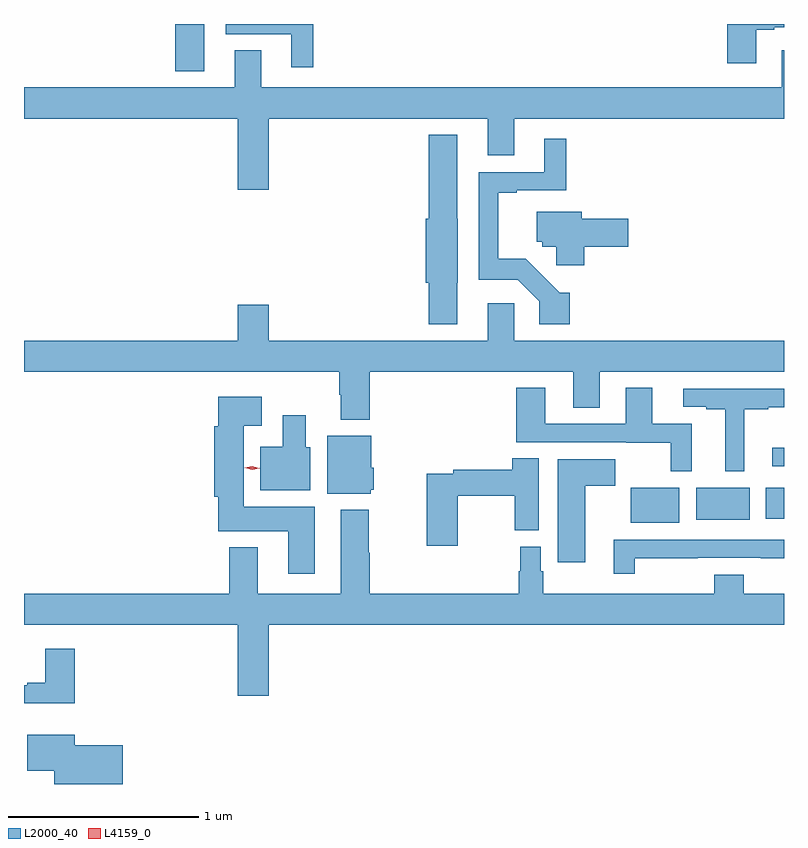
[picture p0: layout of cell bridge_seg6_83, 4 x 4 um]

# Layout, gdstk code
import gdstk
lib = gdstk.Library(unit=1e-6, precision=1e-09)
def R(c, l, rs):  # rectangles x0, y0, x1, y1
    for r in rs: c.add(gdstk.rectangle(r[:2], r[2:], *l))
def P(c, l, *ps):  # polygons
    for p in ps: c.add(gdstk.Polygon(p, *l))
L2000_40 = (2000, 40)
L4159_0 = (4159, 0)

bridge_seg6_83 = lib.new_cell('bridge_seg6_83')
R(bridge_seg6_83, L2000_40, [(730.514,954.533,730.768,954.718), (730.859,954.548,731.14,954.718), (731.225,954.554,731.32,954.718), (731.259,954.831,731.32,954.929), (728.117,956.909,728.269,957.158)])
P(bridge_seg6_83, L2000_40, [(731.173,957.129),(731.269,957.129),(731.269,957.141),(731.32,957.141),(731.32,957.158),(731.021,957.158),(731.021,956.952),(731.173,956.952)],
  [(728.843,957.158),(728.381,957.158),(728.381,957.105),(728.726,957.105),(728.726,956.931),(728.843,956.931)],
  [(728.608,956.66),(729.761,956.66),(729.761,956.466),(729.901,956.466),(729.901,956.66),(731.32,956.66),(731.32,957.019),(731.309,957.019),(731.309,956.824),(728.569,956.824),(728.569,957.019),(728.429,957.019),(728.429,956.824),(727.32,956.824),(727.32,956.66),(728.444,956.66),(728.444,956.286),(728.608,956.286)],
  [(729.601,955.797),(729.604,955.797),(729.604,956.133),(729.601,956.133),(729.601,956.575),(729.449,956.575),(729.449,956.133),(729.434,956.133),(729.434,955.797),(729.449,955.797),(729.449,955.577),(729.601,955.577)],
  [(730.193,955.744),(730.139,955.744),(729.961,955.922),(729.817,955.922),(729.817,956.271),(729.913,956.271),(729.913,956.283),(730.175,956.283),(730.175,956.554),(730.058,956.554),(730.058,956.379),(729.713,956.379),(729.713,955.812),(729.918,955.812),(730.032,955.698),(730.032,955.578),(730.193,955.578)],
  [(730.268,955.985),(730.501,955.985),(730.501,956.132),(730.255,956.132),(730.255,956.17),(730.019,956.17),(730.019,956.013),(730.047,956.013),(730.047,955.986),(730.122,955.986),(730.122,955.887),(730.268,955.887)],
  [(729.14,955.328),(730.211,955.328),(730.211,955.138),(730.351,955.138),(730.351,955.328),(731.32,955.328),(731.32,955.492),(729.9,955.492),(729.9,955.687),(729.761,955.687),(729.761,955.492),(728.608,955.492),(728.608,955.681),(728.444,955.681),(728.444,955.492),(727.32,955.492),(727.32,955.328),(728.98,955.328),(728.98,955.208),(728.987,955.208),(728.987,955.076),(729.14,955.076)],
  [(730.835,955.053),(730.627,955.053),(730.627,955.243),(730.487,955.243),(730.487,955.053),(730.063,955.053),(730.063,955.243),(729.911,955.243),(729.911,954.957),(730.491,954.957),(730.491,954.955),(730.725,954.955),(730.725,954.803),(730.835,954.803)],
  [(731.11,955.131),(731.237,955.131),(731.237,955.142),(731.32,955.142),(731.32,955.239),(730.791,955.239),(730.791,955.143),(730.91,955.143),(730.91,955.131),(731.012,955.131),(731.012,954.803),(731.11,954.803)],
  [(728.851,954.616),(728.476,954.616),(728.476,955.043),(728.572,955.043),(728.572,955.195),(728.342,955.195),(728.342,955.041),(728.321,955.041),(728.321,954.669),(728.342,954.669),(728.342,954.488),(728.711,954.488),(728.711,954.264),(728.851,954.264)],
  [(728.827,954.93),(728.803,954.93),(728.803,955.099),(728.681,955.099),(728.681,954.934),(728.564,954.934),(728.564,954.704),(728.827,954.704)],
  [(729.144,954.708),(729.16,954.708),(729.16,954.822),(729.148,954.822),(729.148,954.991),(728.915,954.991),(728.915,954.686),(729.144,954.686)],
  [(729.604,954.676),(729.902,954.676),(729.902,954.493),(730.03,954.493),(730.03,954.872),(729.89,954.872),(729.89,954.812),(729.58,954.812),(729.58,954.792),(729.439,954.792),(729.439,954.411),(729.604,954.411)],
  [(730.273,954.728),(730.431,954.728),(730.431,954.868),(730.13,954.868),(730.13,954.324),(730.273,954.324)],
  [(728.608,953.996),(731.32,953.996),(731.32,954.16),(731.109,954.16),(731.109,954.259),(730.954,954.259),(730.954,954.16),(730.054,954.16),(730.054,954.279),(730.041,954.279),(730.041,954.408),(729.933,954.408),(729.933,954.279),(729.925,954.279),(729.925,954.16),(729.14,954.16),(729.14,954.375),(729.135,954.375),(729.135,954.601),(728.987,954.601),(728.987,954.16),(728.551,954.16),(728.551,954.403),(728.399,954.403),(728.399,954.16),(727.32,954.16),(727.32,953.996),(728.444,953.996),(728.444,953.622),(728.608,953.622)],
  [(730.534,954.347),(730.865,954.347),(730.865,954.348),(731.197,954.348),(731.197,954.347),(731.32,954.347),(731.32,954.444),(730.424,954.444),(730.424,954.264),(730.534,954.264)],
  [(727.586,953.869),(727.433,953.869),(727.433,953.692),(727.337,953.692),(727.337,953.679),(727.32,953.679),(727.32,953.582),(727.586,953.582)],
  [(727.841,953.362),(727.588,953.362),(727.588,953.416),(727.337,953.416),(727.337,953.228),(727.478,953.228),(727.478,953.158),(727.841,953.158)])
P(bridge_seg6_83, L4159_0, [(728.52,954.811),(728.481,954.822),(728.481,954.822),(728.481,954.822),(728.52,954.831),(728.559,954.82),(728.56,954.82),(728.559,954.82)])

lib.write_gds('bridge_seg6_83.gds')
